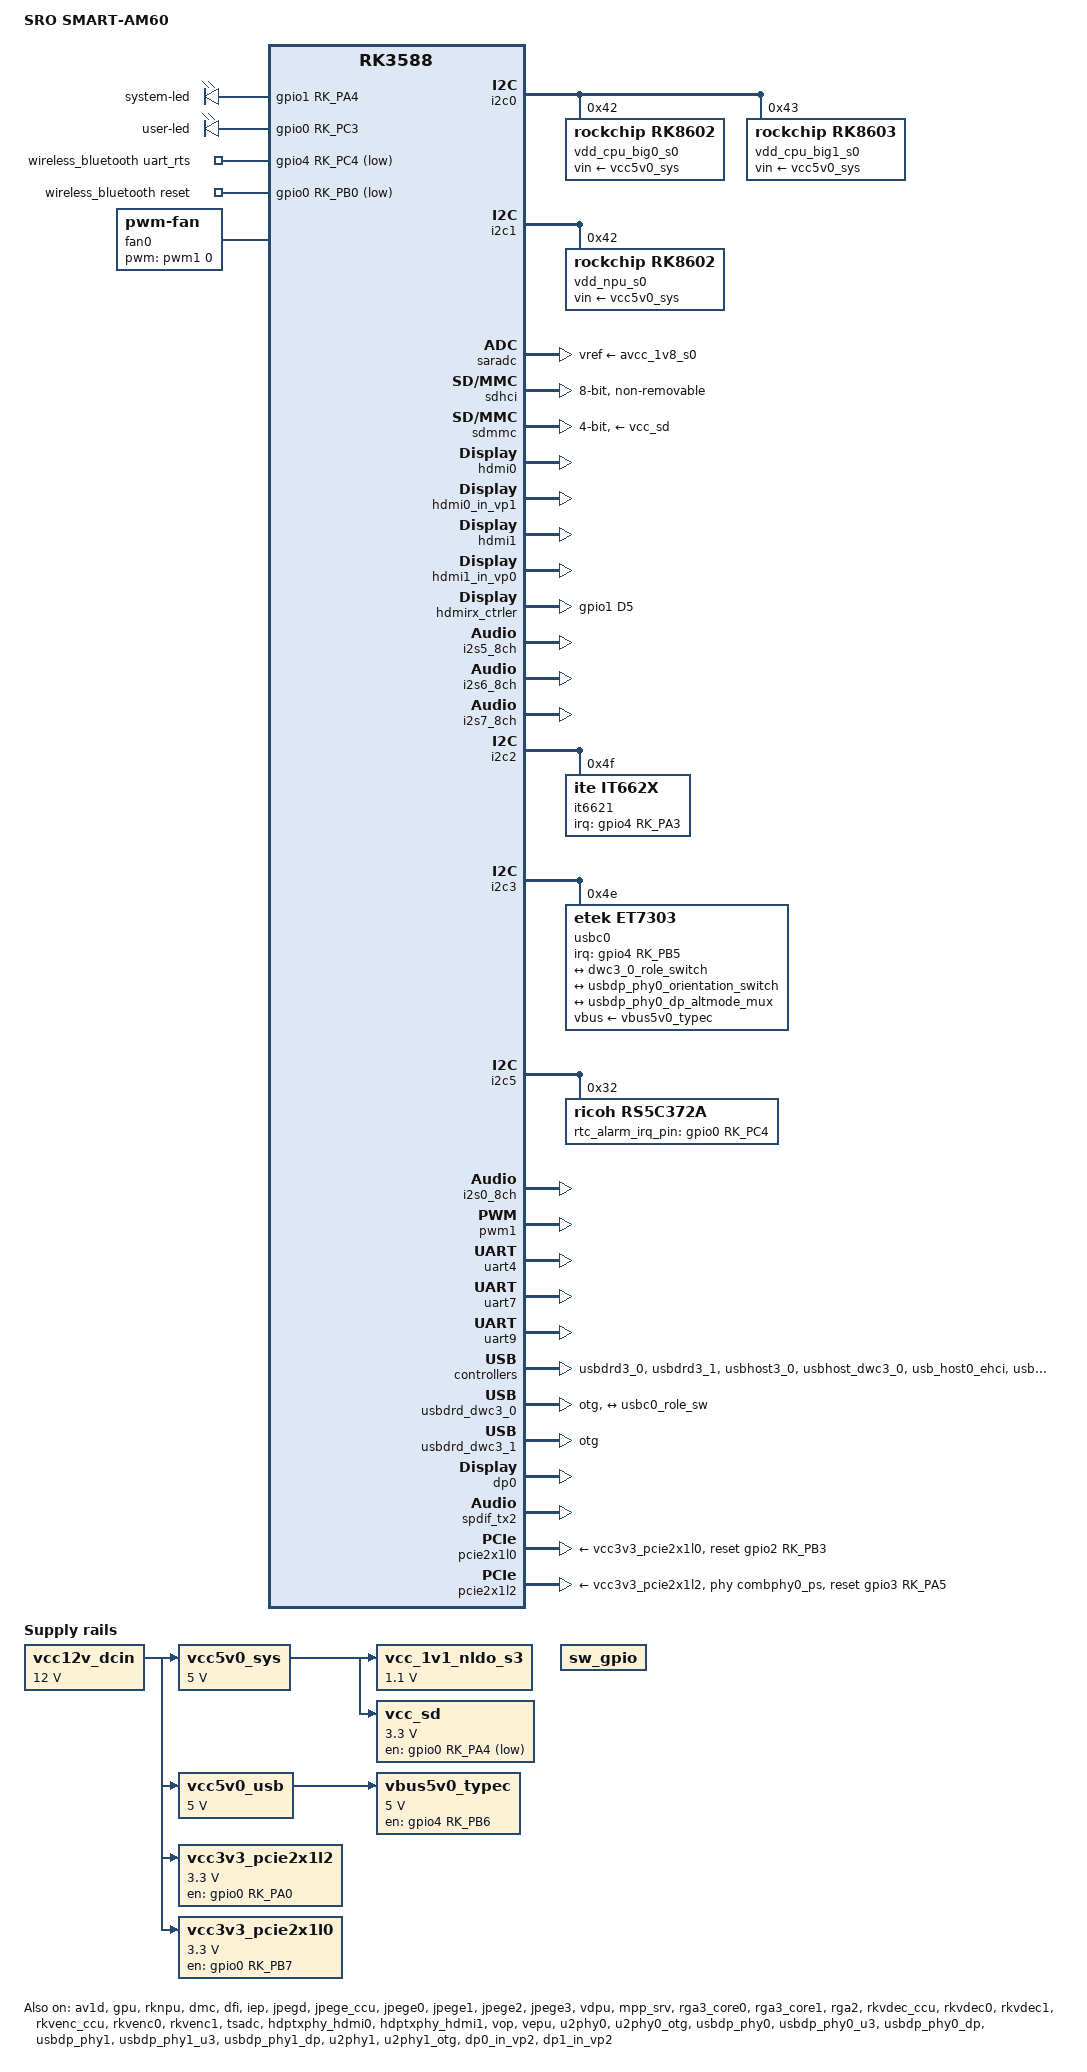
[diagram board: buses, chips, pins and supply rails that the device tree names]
// SPDX-License-Identifier: (GPL-2.0+ OR MIT)
/*
 * Copyright (c) 2021 Rockchip Electronics Co., Ltd.
 * Copyright (c) 2023 Thomas McKahan
 *
 */

/dts-v1/;

#include <dt-bindings/gpio/gpio.h>
#include <dt-bindings/leds/common.h>
#include <dt-bindings/pwm/pwm.h>
#include <dt-bindings/pinctrl/rockchip.h>
#include <dt-bindings/input/rk-input.h>
#include <dt-bindings/display/drm_mipi_dsi.h>
#include <dt-bindings/display/rockchip_vop.h>
#include <dt-bindings/sensor-dev.h>
#include <dt-bindings/usb/pd.h>
#include "rk3588.dtsi"
#include "rk3588s.dtsi"
#include "rk3588-rk806-single.dtsi"
#include "rk3588-android.dtsi"

/ {
	model = "SRO SMART-AM60";
	compatible = "sro,smart-am60", "rockchip,rk3588";

	chosen {
		bootargs = "earlycon=uart8250,mmio32,0xfeb50000 console=ttyFIQ0 coherent_pool=1m irqchip.gicv3_pseudo_nmi=0";
	};

	aliases {
		mmc0 = &sdhci;
		mmc1 = &sdmmc;
	};

	leds {
		compatible = "gpio-leds";
		pinctrl-names = "default";

		sys_led: led-0 {
			// green led: gpios = <0x183 0x04 0x00>;
			gpios = <&gpio1 RK_PA4 GPIO_ACTIVE_HIGH>;
			label = "system-led";
			linux,default-trigger = "heartbeat";
			default-state = "on";
			pinctrl-0 = <&sys_led_pin>;
		};

		usr_led: led-1 {
			// red led : gpios = <0x123 0x13 0x00>;
			gpios = <&gpio0 RK_PC3 GPIO_ACTIVE_HIGH>;
			label = "user-led";
			pinctrl-0 = <&usr_led_pin>;
		};
	};

	vcc12v_dcin: vcc12v-dcin{
		compatible = "regulator-fixed";
		regulator-name = "vcc12v_dcin";
		regulator-always-on;
		regulator-boot-on;
		regulator-min-microvolt = <12000000>;
		regulator-max-microvolt = <12000000>;
	}; // ok

	/* vcc5v0_sys powers peripherals */
	vcc5v0_sys: vcc5v0-sys {
		compatible = "regulator-fixed";
		regulator-name = "vcc5v0_sys";
		regulator-always-on;
		regulator-boot-on;
		regulator-min-microvolt = <5000000>;
		regulator-max-microvolt = <5000000>;
		vin-supply = <&vcc12v_dcin>;
	}; // ok

	vcc5v0_usb: vcc5v0-usb {
		compatible = "regulator-fixed";
		regulator-name = "vcc5v0_usb";
		regulator-always-on;
		regulator-boot-on;
		regulator-min-microvolt = <0x4c4b40>;
		regulator-max-microvolt = <0x4c4b40>;
		vin-supply = <&vcc12v_dcin>;
	};	// ok

	vcc_1v1_nldo_s3: vcc-1v1-nldo-s3 {
		compatible = "regulator-fixed";
		regulator-name = "vcc-1v1-nldo-s3";
		regulator-always-on;
		regulator-boot-on;
		regulator-min-microvolt = <1100000>;
		regulator-max-microvolt = <1100000>;
		vin-supply = <&vcc5v0_sys>;
	};	// ok

	vbus5v0_typec: vbus5v0-typec {
		compatible = "regulator-fixed";
		enable-active-high;
		// gpio = <0xe3 0x0e 0x00>;
		gpios = <&gpio4 RK_PB6 GPIO_ACTIVE_HIGH>;
		pinctrl-names = "default";
		pinctrl-0 = <&typec5v_pwren>;
		regulator-name = "vcc5v0_typec";
		regulator-min-microvolt = <5000000>;
		regulator-max-microvolt = <5000000>;
		vin-supply = <&vcc5v0_usb>;
	};	// ok

	vcc3v3_pcie2x1l2: vcc3v3-pcie2x1l2 {	// wifi 
		compatible = "regulator-fixed";
		enable-active-high;
		//gpios = <0x18a 0x08 0x01>;
		gpios = <&gpio0 RK_PA0 GPIO_ACTIVE_HIGH>;
		regulator-name = "vcc3v3_pcie2x1l2";
		regulator-min-microvolt = <3300000>;
		regulator-max-microvolt = <3300000>;
		startup-delay-us = <5000>;
		vin-supply = <&vcc12v_dcin>;
		pinctrl-names = "default";
		pinctrl-0 = <&wifi_en_gpio>;
	};	// ok

	vcc3v3_pcie2x1l0: vcc3v3-pcie2x1l0 {	// ethernet
		compatible = "regulator-fixed";
		enable-active-high;
		//gpios = <0x123 0x0f 0x00>;
		gpios = <&gpio0 RK_PB7 GPIO_ACTIVE_HIGH>;
		regulator-name = "vcc3v3_pcie2x1l0";
		regulator-min-microvolt = <3300000>;
		regulator-max-microvolt = <3300000>;
		startup-delay-us = <5000>;
		vin-supply = <&vcc12v_dcin>;
		pinctrl-names = "default";
		pinctrl-0 = <&rtl8111_poweren>;
	}; // ok

	vcc_sd: sdmmc-regulator {
		compatible = "regulator-fixed";
		//gpio = <0x123 0x04 0x01>;
		gpios = <&gpio0 RK_PA4 GPIO_ACTIVE_LOW>;
		pinctrl-names = "default";
		pinctrl-0 = <&sdmmc_pwr>;
		regulator-name = "vcc_sd";
		regulator-min-microvolt = <0x325aa0>;
		regulator-max-microvolt = <0x325aa0>;
		startup-delay-us = <0x186a0>;
		vin-supply = <&vcc5v0_sys>;
	};

	sw_gpio: sw-gpio {
		compatible = "regulator-fixed";
		pinctrl-names = "default";
		pinctrl-0 = <&gpio_wol_en &gpio_pc_in_det &gpio_usb30_b_ocp_det &gpio_wifi_wake &gpio_6621_rst>;
		regulator-name = "vcc-phy";
		regulator-always-on;
	};//

	wireless_bluetooth: wireless-bluetooth {
		compatible = "bluetooth-platdata";
		// uart_rts_gpios = <0xe5 0x14 0x01>;
		uart_rts_gpios = <&gpio4 RK_PC4 GPIO_ACTIVE_LOW>;
		pinctrl-names = "default", "rts_gpio";
		pinctrl-0 = <&uart9m0_rtsn>, <&bt_reset_gpio>;
		pinctrl-1 = <&uart9_gpios>;
		// BT,reset_gpio = <0x12f 0x08 0x01>;
		BT,reset_gpio = <&gpio0 RK_PB0 GPIO_ACTIVE_LOW>;
		status = "okay";
	};	// ok

	wireless_wlan: wireless-wlan {
		compatible = "wlan-platdata";
		wifi_chip_type = "ap6276p";
		status = "okay";
	};

	it6621_sound: it6621-sound {
		status = "okay";
		compatible = "simple-audio-card";
		simple-audio-card,format = "i2s";
		simple-audio-card,mclk-fs = <0x80>;
		simple-audio-card,name = "it6621";

		simple-audio-card,cpu {
			sound-dai = <&spdif_tx0>;
		};

		simple-audio-card,codec {
			sound-dai = <&it6621>;
		};
	};

	hdmi0_sound: hdmi0-sound {
		status = "disabled";
		compatible = "rockchip,hdmi";
		rockchip,mclk-fs = <128>;
		rockchip,card-name = "rockchip-hdmi0";
		rockchip,cpu = <&i2s5_8ch>;
		rockchip,codec = <&hdmi0>;
		rockchip,jack-det;
	};	// ok

	hdmi1_sound: hdmi1-sound {
		status = "okay";
		compatible = "rockchip,hdmi";
		rockchip,mclk-fs = <128>;
		rockchip,card-name = "rockchip-hdmi1";
		rockchip,cpu = <&i2s6_8ch>;
		rockchip,codec = <&hdmi1>;
		rockchip,jack-det;
	};

	dp0_sound: dp0-sound {
		status = "okay";
		compatible = "rockchip,hdmi";
		rockchip,card-name = "rockchip-dp0";
		rockchip,mclk-fs = <512>;
		rockchip,cpu = <&spdif_tx2>;
		rockchip,codec = <&dp0 1>;
		rockchip,jack-det;
	};

	/* If hdmirx node is disabled, delete the reserved-memory node here. */
	reserved-memory {
		#address-cells = <2>;
		#size-cells = <2>;
		ranges;

		/* Reserve 256MB memory for hdmirx-controller@fdee0000 */
		cma {
			compatible = "shared-dma-pool";
			reusable;
			reg = <0x0 (256 * 0x100000) 0x0 (256 * 0x100000)>;
			linux,cma-default;
		};
	};	// ok

	hdmiin-sound {
		compatible = "rockchip,hdmi";
		rockchip,mclk-fs = <128>;
		rockchip,format = "i2s";
		rockchip,bitclock-master = <&hdmirx_ctrler>;
		rockchip,frame-master = <&hdmirx_ctrler>;
		rockchip,card-name = "rockchip-hdmiin";
		rockchip,cpu = <&i2s7_8ch>;
		rockchip,codec = <&hdmirx_ctrler 0>;
		rockchip,jack-det;
	};

	fan0: pwm-fan {
		compatible = "pwm-fan";
		#cooling-cells = <2>;
		cooling-levels = <72 94 117 139 162 184 207 229 255>;
		pwms = <&pwm1 0 10000 0>;
	};

	test-power {
		status = "okay";
	};

};

&av1d {
	status = "okay";
};

&av1d_mmu {
	status = "okay";
};

&cpu_l0 {
	cpu-supply = <&vdd_cpu_lit_s0>;
	mem-supply = <&vdd_cpu_lit_mem_s0>;
};

&cpu_b0 {
	cpu-supply = <&vdd_cpu_big0_s0>;
	mem-supply = <&vdd_cpu_big0_mem_s0>;
};

&cpu_b2 {
	cpu-supply = <&vdd_cpu_big1_s0>;
	mem-supply = <&vdd_cpu_big1_mem_s0>;
};

&gpu {
	mali-supply = <&vdd_gpu_s0>;
	mem-supply = <&vdd_gpu_mem_s0>;
	upthreshold = <60>;
	downdifferential = <30>;
	status = "okay";
};

&rknpu {
	rknpu-supply = <&vdd_npu_s0>;
	mem-supply = <&vdd_npu_mem_s0>;
	status = "okay";
};

&rknpu_mmu {
	status = "okay";
};

&i2c0 {
	status = "okay";
	pinctrl-names = "default";
	pinctrl-0 = <&i2c0m2_xfer>;

	vdd_cpu_big0_s0: vdd_cpu_big0_mem_s0: rk8602@42 {
		compatible = "rockchip,rk8602";
		reg = <0x42>;
		vin-supply = <&vcc5v0_sys>;
		regulator-compatible = "rk860x-reg";
		regulator-name = "vdd_cpu_big0_s0";
		regulator-min-microvolt = <550000>;
		regulator-max-microvolt = <1050000>;
		regulator-ramp-delay = <2300>;
		rockchip,suspend-voltage-selector = <1>;
		regulator-boot-on;
		regulator-always-on;
		regulator-state-mem {
			regulator-off-in-suspend;
		};
	};

	vdd_cpu_big1_s0: vdd_cpu_big1_mem_s0: rk8603@43 {
		compatible = "rockchip,rk8603";
		reg = <0x43>;
		vin-supply = <&vcc5v0_sys>;
		regulator-compatible = "rk860x-reg";
		regulator-name = "vdd_cpu_big1_s0";
		regulator-min-microvolt = <550000>;
		regulator-max-microvolt = <1050000>;
		regulator-ramp-delay = <2300>;
		rockchip,suspend-voltage-selector = <1>;
		regulator-boot-on;
		regulator-always-on;
		regulator-state-mem {
			regulator-off-in-suspend;
		};
	};
};	// ok

&dmc {
	center-supply = <&vdd_ddr_s0>;
	mem-supply = <&vdd_log_s0>;
	status = "okay";
};

&dfi {
	status = "okay";
};

&i2c1 {
	status = "okay";
	pinctrl-names = "default";
	pinctrl-0 = <&i2c1m2_xfer>;

	vdd_npu_s0: vdd_npu_mem_s0: rk8602@42 {
		compatible = "rockchip,rk8602";
		reg = <0x42>;
		vin-supply = <&vcc5v0_sys>;
		regulator-compatible = "rk860x-reg";
		regulator-name = "vdd_npu_s0";
		regulator-min-microvolt = <550000>;
		regulator-max-microvolt = <950000>;
		regulator-ramp-delay = <2300>;
		rockchip,suspend-voltage-selector = <1>;
		regulator-boot-on;
		regulator-always-on;
		regulator-state-mem {
			regulator-off-in-suspend;
		};
	};
};	// ok

&iep {
	status = "okay";
};

&iep_mmu {
	status = "okay";
};

&jpegd {
	status = "okay";
};

&jpegd_mmu {
	status = "okay";
};

&jpege_ccu {
	status = "okay";
};

&jpege0 {
	status = "okay";
};

&jpege0_mmu {
	status = "okay";
};

&jpege1 {
	status = "okay";
};

&jpege1_mmu {
	status = "okay";
};

&jpege2 {
	status = "okay";
};

&jpege2_mmu {
	status = "okay";
};

&jpege3 {
	status = "okay";
};

&jpege3_mmu {
	status = "okay";
};

&vdpu {
	status = "okay";
};

&vdpu_mmu {
	status = "okay";
};

&mpp_srv {
	status = "okay";
};

&rga3_core0 {
	status = "okay";
};

&rga3_0_mmu {
	status = "okay";
};

&rga3_core1 {
	status = "okay";
};

&rga3_1_mmu {
	status = "okay";
};

&rga2 {
	status = "okay";
};

&rkvdec_ccu {
	status = "okay";
};

&rkvdec0 {
	status = "okay";
};

&rkvdec0_mmu {
	status = "okay";
};

&rkvdec1 {
	status = "okay";
};

&rkvdec1_mmu {
	status = "okay";
};

&rkvenc_ccu {
	status = "okay";
};

&rkvenc0 {
	status = "okay";
};

&rkvenc0_mmu {
	status = "okay";
};

&rkvenc1 {
	status = "okay";
};

&rkvenc1_mmu {
	status = "okay";
};

&saradc {
	vref-supply = <&avcc_1v8_s0>;
	status = "okay";
};

&sdhci {
	bus-width = <8>;
	no-sdio;
	no-sd;
	non-removable;
	max-frequency = <200000000>;
	mmc-hs400-1_8v;
	mmc-hs400-enhanced-strobe;
	status = "okay";
};

&sdmmc {
	max-frequency = <200000000>;
	no-sdio;
	no-mmc;
	bus-width = <4>;
	cap-mmc-highspeed;
	cap-sd-highspeed;
	disable-wp;
	sd-uhs-sdr104;
	vmmc-supply = <&vcc_sd>;
	pinctrl-names = "default";
	pinctrl-0 = <&sdmmc_bus4 &sdmmc_clk &sdmmc_cmd &sdmmc_det>;
	status = "okay";
};

&sdio {
	status = "disabled";
};

&soc_thermal {
	polling-delay = <1000>;
	polling-delay-passive = <2000>;
	trips {
		trip0: trip-point@0 {
			temperature = <45000>;
			hysteresis = <5000>;
			type = "active";
		};
		trip1: trip-point@1 {
			temperature = <50000>;
			hysteresis = <5000>;
			type = "active";
		};
		trip2: trip-point@2 {
			temperature = <55000>;
			hysteresis = <5000>;
			type = "active";
		};
		trip3: trip-point@3 {
			temperature = <60000>;
			hysteresis = <5000>;
			type = "active";
		};
		trip4: trip-point@4 {
			temperature = <65000>;
			hysteresis = <5000>;
			type = "active";
		};
		trip5: trip-point@5 {
			temperature = <70000>;
			hysteresis = <5000>;
			type = "active";
		};
		trip6: trip-point@6 {
			temperature = <75000>;
			hysteresis = <5000>;
			type = "active";
		};
		pcritical: trip-point@7 {
			temperature = <80000>;
			hysteresis = <1000>;
			type = "active";
		};
	};
	cooling-maps {
		map0 {
			trip = <&trip0>;
			cooling-device = <&fan0 0 1>;
			contribution = <1024>;
		};
		map1 {
			trip = <&trip1>;
			cooling-device = <&fan0 1 2>;
			contribution = <1024>;
		};
		map2 {
			trip = <&trip2>;
			cooling-device = <&fan0 2 3>;
			contribution = <1024>;
		};
		map3 {
			trip = <&trip3>;
			cooling-device = <&fan0 3 4>;
			contribution = <1024>;
		};
		map4 {
			trip = <&trip4>;
			cooling-device = <&fan0 4 5>;
			contribution = <1024>;
		};
		map5 {
			trip = <&trip5>;
			cooling-device = <&fan0 5 6>;
			contribution = <1024>;
		};
		map6 {
			trip = <&trip6>;
			cooling-device = <&fan0 6 7>;
			contribution = <1024>;
		};
		map7 {
			trip = <&pcritical>;
			cooling-device = <&fan0 7 8>;
			contribution = <1024>;
		};
	};
};

&tsadc {
	status = "okay";
};

&display_subsystem {
	clocks = <&hdptxphy_hdmi0 &hdptxphy_hdmi1>;
	clock-names =  "hdmi0_phy_pll" , "hdmi1_phy_pll";

	route {
		route_hdmi1: route-hdmi1 {
			status = "okay";
			logo,uboot = "boot.bmp";
			logo,kernel = "boot-desktop.png";
			logo,mode = "center";
			charge_logo,mode = "center";
			connect = <&vp0_out_hdmi1>;
		};
	};
};

&hdptxphy_hdmi0 {
	status = "okay";
};

&hdptxphy_hdmi1 {
	status = "okay";
};

&hdmi0 {
	status = "okay";
	cec-enable = "true";
	// enable-gpios = <0xe5 0x09 0x00>;
	enable-gpios = <&gpio4 RK_PB1 GPIO_ACTIVE_HIGH>;
	pinctrl-names = "default";
	pinctrl-0 = <&hdmim0_tx0_cec &hdmim0_tx0_hpd &hdmim0_tx0_scl &hdmim0_tx0_sda>;
};

&hdmi0_in_vp0 {
	status = "disabled";
};

&hdmi0_in_vp1 {
	status = "okay";
};

&hdmi0_in_vp2 {
	status = "disabled";
};

&hdmi1 {
	status = "okay";
	// enable-gpios = <0xe5 0x0a 0x00>;
	cec-enable;
	enable-gpios = <&gpio4 RK_PB2 GPIO_ACTIVE_HIGH>;
	pinctrl-names = "default";
	pinctrl-0 = <&hdmim2_tx1_cec &hdmim0_tx1_hpd &hdmim1_tx1_scl &hdmim1_tx1_sda>;
};

&hdmi1_in_vp0 {
	status = "okay";
};

&hdmi1_in_vp1 {
	status = "disabled";
};

&hdmi1_in_vp2 {
	status = "disabled";
};

/* Should work with at least 128MB cma reserved above. */
&hdmirx_ctrler {
	status = "okay";

	#sound-dai-cells = <1>;
	/* Effective level used to trigger HPD: 0-low, 1-high */
	hpd-trigger-level = <1>;
	// hdmirx-hpd-gpios = <0xe3 0x04 0x00>;
	hdmirx-hpd-gpios = <&gpio4 RK_PA4 GPIO_ACTIVE_HIGH>;
	// hdmirx-det-gpios = <0x183 0x1d 0x01>;
	hdmirx-det-gpios = <&gpio1 RK_PD5 GPIO_ACTIVE_LOW>;
	pinctrl-0 = <&hdmim1_rx_cec &hdmim1_rx_hpdin &hdmim1_rx_scl &hdmim1_rx_sda &hdmirx_det>;
	pinctrl-names = "default";
};

&i2s5_8ch {
	status = "okay";
};

&i2s6_8ch {
	status = "okay";
};

&i2s7_8ch {
	status = "okay";
};

&vop {
	vop-supply = <&vdd_log_s0>;
	support-multi-area;
	status = "okay";
};

&vop_mmu {
	status = "okay";
};

&vepu {
	status = "okay";
};

/* vp0 & vp1 splice for 8K output */
&vp0 {
    rockchip,plane-mask = <(1 << ROCKCHIP_VOP2_CLUSTER0 | 1 << ROCKCHIP_VOP2_ESMART0)>;
    rockchip,primary-plane = <ROCKCHIP_VOP2_ESMART0>;
};

&vp1 {
    rockchip,plane-mask = <(1 << ROCKCHIP_VOP2_CLUSTER1 | 1 << ROCKCHIP_VOP2_ESMART1)>;
    rockchip,primary-plane = <ROCKCHIP_VOP2_ESMART1>;
};

&vp2 {
    rockchip,plane-mask = <(1 << ROCKCHIP_VOP2_CLUSTER2 | 1 << ROCKCHIP_VOP2_ESMART2)>;
    rockchip,primary-plane = <ROCKCHIP_VOP2_ESMART2>;
};

&vp3 {
    rockchip,plane-mask = <(1 << ROCKCHIP_VOP2_CLUSTER3 | 1 << ROCKCHIP_VOP2_ESMART3)>;
    rockchip,primary-plane = <ROCKCHIP_VOP2_ESMART3>;
};

&i2c2 {
    status = "okay";
	pinctrl-names = "default";
	pinctrl-0 = <&i2c2m4_xfer>;

	it6621: it6621@4f {
			reg = <0x4f>;
			compatible = "ite,it662x";
			interrupt-parent = <&gpio4>;
			interrupts = <RK_PA3 IRQ_TYPE_LEVEL_HIGH>;
			pinctrl-names = "default";
			pinctrl-0 = <&it662x_int>;
			dev-name = "IT6621";
			audio-source = "spdif";
			fixed-lcf = <0x0f>;
			#sound-dai-cells = <0x00>;
			status = "okay";
		};
};
// #配置外置Type-C控制器芯片et7304
// #需要根据实际的硬件设计，配置"I2C/interrupts/vbus-supply/usb_con"的属性
&i2c3 {
    status = "okay";
	pinctrl-names = "default";
	pinctrl-0 = <&i2c3m0_xfer>;

    usbc0: et7303@4e {
        compatible = "etek,et7303";
        reg = <0x4e>;
		// interrupt-parent = <0xe3>;
		// interrupts = <0x0d 0x08>;
        interrupt-parent = <&gpio4>;
        interrupts = <RK_PB5 IRQ_TYPE_LEVEL_LOW>;
        pinctrl-names = "default";
        pinctrl-0 = <&usbc0_int>;
        vbus-supply = <&vbus5v0_typec>;
        status = "okay";

        ports {
            #address-cells = <1>;
            #size-cells = <0>;

            port@0 {
                reg = <0>;
                usbc0_role_sw: endpoint@0 {
                	remote-endpoint = <&dwc3_0_role_switch>;
                };
            };
        };

        usb_con: connector {
			compatible = "usb-c-connector";
			label = "USB-C";
			data-role = "dual";
			power-role = "dual";
			try-power-role = "sink";
			op-sink-microwatt = <1000000>;
			sink-pdos = <PDO_FIXED(5000, 2000, PDO_FIXED_USB_COMM)>;
            source-pdos = <PDO_FIXED(5000, 3000, PDO_FIXED_USB_COMM)>;

			altmodes {
				#address-cells = <1>;
				#size-cells = <0>;

				altmode@0 {
					reg = <0>;
					svid = <0xff01>;
					vdo = <0xffffffff>;
				};
			};

			ports {
				#address-cells = <1>;
				#size-cells = <0>;

				port@0 {
					reg = <0>;
					usbc0_orien_sw: endpoint {
						remote-endpoint = <&usbdp_phy0_orientation_switch>;
					};
				};

				port@1 {
					reg = <1>;
					dp_altmode_mux: endpoint {
						remote-endpoint = <&usbdp_phy0_dp_altmode_mux>;
					};
				};
			};
		};
    };
};

&i2c5 {
	status = "okay";
	pinctrl-names = "default";
	pinctrl-0 = <&i2c5m2_xfer>;

	rs5c372a: rs5c372a@32 {
		compatible = "ricoh,rs5c372a";
		reg = <0x32>;
		// rtc_alarm_irq_pin = <0x12f 0x14 0x08>;
		rtc_alarm_irq_pin = <&gpio0 RK_PC4 IRQ_TYPE_LEVEL_LOW>;
	};
};	// ok

&i2s0_8ch {
	status = "okay";
	rockchip,playback-channels = <2>;
	rockchip,capture-channels = <2>;
	#sound-dai-cells = <0>;
	pinctrl-names = "default";
	pinctrl-0 = <&i2s0_lrck
			 &i2s0_sclk
			 &i2s0_sdi0
			 &i2s0_sdo0>;
};

&rockchip_suspend {
	compatible = "rockchip,pm-rk3588";
	status = "okay";
	rockchip,sleep-debug-en = <1>;
	rockchip,sleep-mode-config = <
		(0
		| RKPM_SLP_ARMOFF_DDRPD
		)
	>;
	rockchip,wakeup-config = <
		(0
		| RKPM_GPIO_WKUP_EN
		| RKPM_USB_WKUP_EN
		)
	>;
};

&avdd_0v75_s0 {
	regulator-state-mem {
		regulator-on-in-suspend;
		regulator-suspend-microvolt = <837500>;
	};
};

&avcc_1v8_s0 {
	regulator-state-mem {
		regulator-on-in-suspend;
		regulator-suspend-microvolt = <1800000>;
	};
};

&vcc_1v8_s0 {
	regulator-state-mem {
		regulator-on-in-suspend;
		regulator-suspend-microvolt = <1800000>;
	};
};

&vcc_3v3_s0 {
	regulator-state-mem {
		regulator-on-in-suspend;
		regulator-suspend-microvolt = <3300000>;
	};
};

&vdd_log_s0 {
	regulator-state-mem {
		regulator-on-in-suspend;
		regulator-suspend-microvolt = <750000>;
	};
};

&vdd_ddr_pll_s0 {
	regulator-state-mem {
		regulator-on-in-suspend;
		regulator-suspend-microvolt = <850000>;
	};
};

&pwm1 {
	pinctrl-0 = <&pwm1m1_pins>;
	status = "okay";
};

&uart4 {
	pinctrl-0 = <&uart4m2_xfer>;
	status = "okay";
};

&uart7 {
	pinctrl-0 = <&uart7m0_xfer>;
	status = "okay";
};

&uart9 {
	pinctrl-0 = <&uart9m0_xfer &uart9m0_ctsn>;
	status = "okay";
};

/* Type-C USB 3.1/DP 全功能 DTS 配置 */
// #USB2.0 PHY配置属性"rockchip,typec-vbus-det"，表示支持Type-C VBUS_DET常拉高的硬件设计
&usbdrd3_0{
	status = "okay";
};

// #USB3.1 OTG0 Controller
&usbdrd_dwc3_0 {
	status = "okay";
    dr_mode = "otg";
    usb-role-switch;
    port {
        #address-cells = <1>;
        #size-cells = <0>;
        dwc3_0_role_switch: endpoint@0 {
        	reg = <0>;
        	remote-endpoint = <&usbc0_role_sw>;
        };
    };
};

&u2phy0 {
        status = "okay";
};

&u2phy0_otg {
	status = "okay";
    rockchip,typec-vbus-det;
};

// #USB3.1/DP PHY0，需要根据硬件设计，配置属性"sbu1-dc-gpios"和"sbu2-dc-gpios"
&usbdp_phy0 {
	status = "okay";
    orientation-switch;
	rockchip,dp-lane-mux = <0 1 2 3 >;
    svid = <0xff01>;
	// sbu1-dc-gpios = <0xf4 0x08 0x00>;
    sbu1-dc-gpios = <&gpio3 RK_PB0 GPIO_ACTIVE_HIGH>;
	// sbu2-dc-gpios = <0xf4 0x07 0x00>;
    sbu2-dc-gpios = <&gpio3 RK_PA7 GPIO_ACTIVE_HIGH>;

    port {
            #address-cells = <1>;
            #size-cells = <0>;
		    usbdp_phy0_orientation_switch: endpoint@0 {
                    reg = <0>;
                    remote-endpoint = <&usbc0_orien_sw>;
            };

            usbdp_phy0_dp_altmode_mux: endpoint@1 {
                    reg = <1>;
                    remote-endpoint = <&dp_altmode_mux>;
             };
    };

};

&usbdp_phy0_u3 {
	status = "okay";
};

&usbdp_phy0_dp {
	status = "okay";
};

// USB3.0 Type-C1
&usbdrd3_1{
	status = "okay";
};
//如果配置dr_mode为otg，同时配置extcon = <&u2phy1>属性，才能支持软件切换Device/Host mode
&usbdrd_dwc3_1{
	status = "okay";
	dr_mode = "otg";
	maximum-speed = "high-speed";
	extcon = <&u2phy1>;
};

&usbdp_phy1 {
	status = "okay";
};

&usbdp_phy1_u3 {
	status = "okay";
};

&usbdp_phy1_dp {
	status = "okay";
};

// USB2.0 PHY1
&u2phy1 {
        status = "okay";
};

&u2phy1_otg {
        status = "okay";
};

&dp0 {
	status = "okay";
};

&dp0_in_vp0 {
	status = "disabled";
};

&dp0_in_vp1 {
	status = "disabled";
};

&dp0_in_vp2 {
	status = "okay";
};

&dp1 {
	status = "disabled";
};

&dp1_in_vp0 {
	status = "disabled";
};

&dp1_in_vp1 {
	status = "disabled";
};

&dp1_in_vp2 {
	status = "okay";
};

&spdif_tx2 {
	status = "okay";
};

/* Type-A USB 3.1 DTS 配置 */
// #使能USB3.1/SATA/PCIe Combo PHY
&combphy0_ps {
	status = "okay";
};

&pcie2x1l0 {	// eth
	// reset-gpios = <0x194 0x0b 0x00>;
	reset-gpios = <&gpio2 RK_PB3 GPIO_ACTIVE_HIGH>;
	vpcie3v3-supply = <&vcc3v3_pcie2x1l0>;
	status = "okay";
};	// ok


&pcie2x1l2 {	// wifi
	phys = <&combphy0_ps PHY_TYPE_PCIE>;
	// reset-gpios = <0xee 0x05 0x00>;
	reset-gpios = <&gpio3 RK_PA5 GPIO_ACTIVE_HIGH>;
	vpcie3v3-supply = <&vcc3v3_pcie2x1l2>;
	status = "okay";
};	// ok

&combphy1_ps {
	status = "okay";
};

&combphy2_psu {
	status = "okay";
};

// #配置USB3.1 HOST2 Controller
&usbhost3_0 {
    status = "okay";
};

&usbhost_dwc3_0 {
    status = "okay";
};

// #USB2.0 PHY2/3配置"phy-supply"属性，用于控制VBUS输出5V
&u2phy2 {
	status = "okay";
};

&u2phy2_host {
	status = "okay";
};

&u2phy3 {
	status = "okay";
};

&u2phy3_host {
	status = "okay";
};

// #USB2.0 HOST0/1 Controller
&usb_host0_ehci {
    status = "okay";
};

&usb_host0_ohci {
    status = "okay";
};

&usb_host1_ehci {
    status = "okay";
};

&usb_host1_ohci {
    status = "okay";
};

&pinctrl {
	gpio-leds {
		sys_led_pin: sys-led-pin {
			rockchip,pins = <1 RK_PA4 RK_FUNC_GPIO &pcfg_pull_none>;
		};

		usr_led_pin: usr-led-pin {
			rockchip,pins = <0 RK_PC3 RK_FUNC_GPIO &pcfg_pull_none>;
		};
	};

	headphone {
		hp_detect: hp-detect {
			// rockchip,pins = <0x01 0x14 0x00 0x162>;
			rockchip,pins = <1 RK_PC4 RK_FUNC_GPIO &pcfg_pull_none>;
		};

		linein_det: linein-det {
				//rockchip,pins = <0x01 0x16 0x00 0x162>;
				rockchip,pins = <1 RK_PC6 RK_FUNC_GPIO &pcfg_pull_none>;
		};
	};

	hdmirx {
		hdmirx_det: hdmirx-det {
			// rockchip,pins = <0x01 0x1d 0x00 0x168>;
			rockchip,pins = <1 RK_PD5 RK_FUNC_GPIO &pcfg_pull_up>;
		};
	};

	usb-typec {

			usbc0_int: usbc0-int {
				// rockchip,pins = <0x04 0x0d 0x00 0x168>;
				rockchip,pins = <4 RK_PB5 RK_FUNC_GPIO &pcfg_pull_up>;
			};

			typec5v_pwren: typec5v-pwren {
				// rockchip,pins = <0x04 0x0e 0x00 0x162>;
				rockchip,pins = <4 RK_PB6 RK_FUNC_GPIO &pcfg_pull_none>;
			};
	};

	rtl8111 {
			rtl8111_isolate: rtl8111-isolate {
				// rockchip,pins = <0x00 0x17 0x00 0x168>;
				rockchip,pins = <0 RK_PC7 RK_FUNC_GPIO &pcfg_pull_up>;
			};

			rtl8111_poweren: rtl8111-poweren {
				// rockchip,pins = <0x00 0x0f 0x00 0x162>;
				rockchip,pins = <0 RK_PB7 RK_FUNC_GPIO &pcfg_pull_none>;
			};
	};

	wireless-bluetooth {
			uart9_gpios: uart9-gpios {
				// rockchip,pins = <0x04 0x14 0x00 0x162>;
				rockchip,pins = <4 RK_PC4 RK_FUNC_GPIO &pcfg_pull_none>;
			};

			bt_reset_gpio: bt-reset-gpio {
				// rockchip,pins = <0x00 0x08 0x00 0x162>;
				rockchip,pins = <0 RK_PB0 RK_FUNC_GPIO &pcfg_pull_none>;
			};
		};

	wireless-wifi {
		wifi_en_gpio: wifi-en-gpio {
			//rockchip,pins = <0x02 0x08 0x00 0x162>;
			rockchip,pins = <0 RK_PA0 RK_FUNC_GPIO &pcfg_pull_none>;
		};
	};

	refclk {
			refclk_pins: refclk-pins {
				//rockchip,pins = <0x00 0x00 0x01 0x162>;
				rockchip,pins = <0 RK_PA0 1 &pcfg_pull_none>;
			};
	};

	it662x {

			it662x_int: it662x-int {
				//rockchip,pins = <0x04 0x03 0x00 0x168>;
				rockchip,pins = <4 RK_PA3 RK_FUNC_GPIO &pcfg_pull_up>;
			};
	};

	gpio-phy_power {

			gpio_wol_en: gpio-wol_en {
				// rockchip,pins = <0x00 0x16 0x00 0x16c>;
				rockchip,pins = <0 RK_PC6 RK_FUNC_GPIO &pcfg_output_low_pull_none>;
			};

			gpio_wifi_wake: gpio-wifi_wake {
				// rockchip,pins = <0x03 0x13 0x00 0x162>;
				rockchip,pins = <3 RK_PC3 RK_FUNC_GPIO &pcfg_pull_none>;
			};

			sdmmc_pwr: sdmmc-pwr {
				//rockchip,pins = <0x00 0x17 0x00 0x162>;
				rockchip,pins = <0 RK_PC7 RK_FUNC_GPIO &pcfg_pull_none>;
			};
	};

	gpio-commons {

			gpio_pc_in_det: gpio-pc_in_det {
				//rockchip,pins = <0x00 0x15 0x00 0x16d>;
				rockchip,pins = <0 RK_PC5 RK_FUNC_GPIO &pcfg_pull_none_drv_level_5>;
			};

			gpio_usb30_b_ocp_det: gpio-usb30_b_ocp_det {
				//rockchip,pins = <0x02 0x0b 0x00 0x162>;
				rockchip,pins = <2 RK_PB3 RK_FUNC_GPIO &pcfg_pull_none>;
			};

			gpio_6621_rst: gpio-6621_rst {
				//rockchip,pins = <0x03 0x1d 0x00 0x16c>;
				rockchip,pins = <3 RK_PD5 RK_FUNC_GPIO &pcfg_output_low_pull_none>;
			};
		};
};

&gpio0 {
	gpio-line-names =
		/* GPIO0_A0-A3 */
		"", "", "", "",
		/* GPIO0_A4-A7 */
		"", "", "", "",

		/* GPIO0_B0-B3 */
		"", "", "", "",
		/* GPIO0_B4-B7 */
		"", "PIN_8", "PIN_10", "",

		/* GPIO0_C0-C3 */
		"", "", "", "",
		/* GPIO0_C4-C7 */
		"", "", "", "",

		/* GPIO0_D0-D3 */
		"", "", "", "",
		/* GPIO0_D4-D7 */
		"", "", "", "";
};

&gpio1 {
	gpio-line-names =
		/* GPIO1_A0-A3 */
		"", "", "", "",
		/* GPIO1_A4-A7 */
		"", "", "", "",

		/* GPIO1_B0-B3 */
		"", "PIN_21", "PIN_19", "PIN_23",
		/* GPIO1_B4-B7 */
		"PIN_24", "PIN_26", "", "PIN_31",

		/* GPIO1_C0-C3 */
		"", "", "", "",
		/* GPIO1_C4-C7 */
		"", "", "", "",

		/* GPIO1_D0-D3 */
		"", "", "", "",
		/* GPIO1_D4-D7 */
		"", "", "", "PIN_29";
};

&gpio2 {
	gpio-line-names =
		/* GPIO2_A0-A3 */
		"", "", "", "",
		/* GPIO2_A4-A7 */
		"", "", "", "",

		/* GPIO2_B0-B3 */
		"", "", "", "",
		/* GPIO2_B4-B7 */
		"", "", "", "",

		/* GPIO2_C0-C3 */
		"", "", "", "",
		/* GPIO2_C4-C7 */
		"", "", "", "",

		/* GPIO2_D0-D3 */
		"", "", "", "",
		/* GPIO2_D4-D7 */
		"", "", "", "";
};

&gpio3 {
	gpio-line-names =
		/* GPIO3_A0-A3 */
		"", "", "", "",
		/* GPIO3_A4-A7 */
		"PIN_16", "", "", "PIN_33",

		/* GPIO3_B0-B3 */
		"", "PIN_36", "PIN_38", "PIN_40",
		/* GPIO3_B4-B7 */
		"", "PIN_12", "PIN_35", "PIN_13",

		/* GPIO3_C0-C3 */
		"PIN_15", "PIN_11", "PIN_32", "PIN_7",
		/* GPIO3_C4-C7 */
		"", "", "", "",

		/* GPIO3_D0-D3 */
		"", "", "", "",
		/* GPIO3_D4-D7 */
		"", "", "", "";
};

&gpio4 {
	gpio-line-names =
		/* GPIO4_A0-A3 */
		"", "", "", "",
		/* GPIO4_A4-A7 */
		"", "", "", "",

		/* GPIO4_B0-B3 */
		"", "", "PIN_5", "PIN_3",
		/* GPIO4_B4-B7 */
		"", "", "", "",

		/* GPIO4_C0-C3 */
		"", "", "", "",
		/* GPIO4_C4-C7 */
		"PIN_18", "PIN_28", "PIN_27", "",

		/* GPIO4_D0-D3 */
		"", "", "", "",
		/* GPIO4_D4-D7 */
		"", "", "", "";
};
